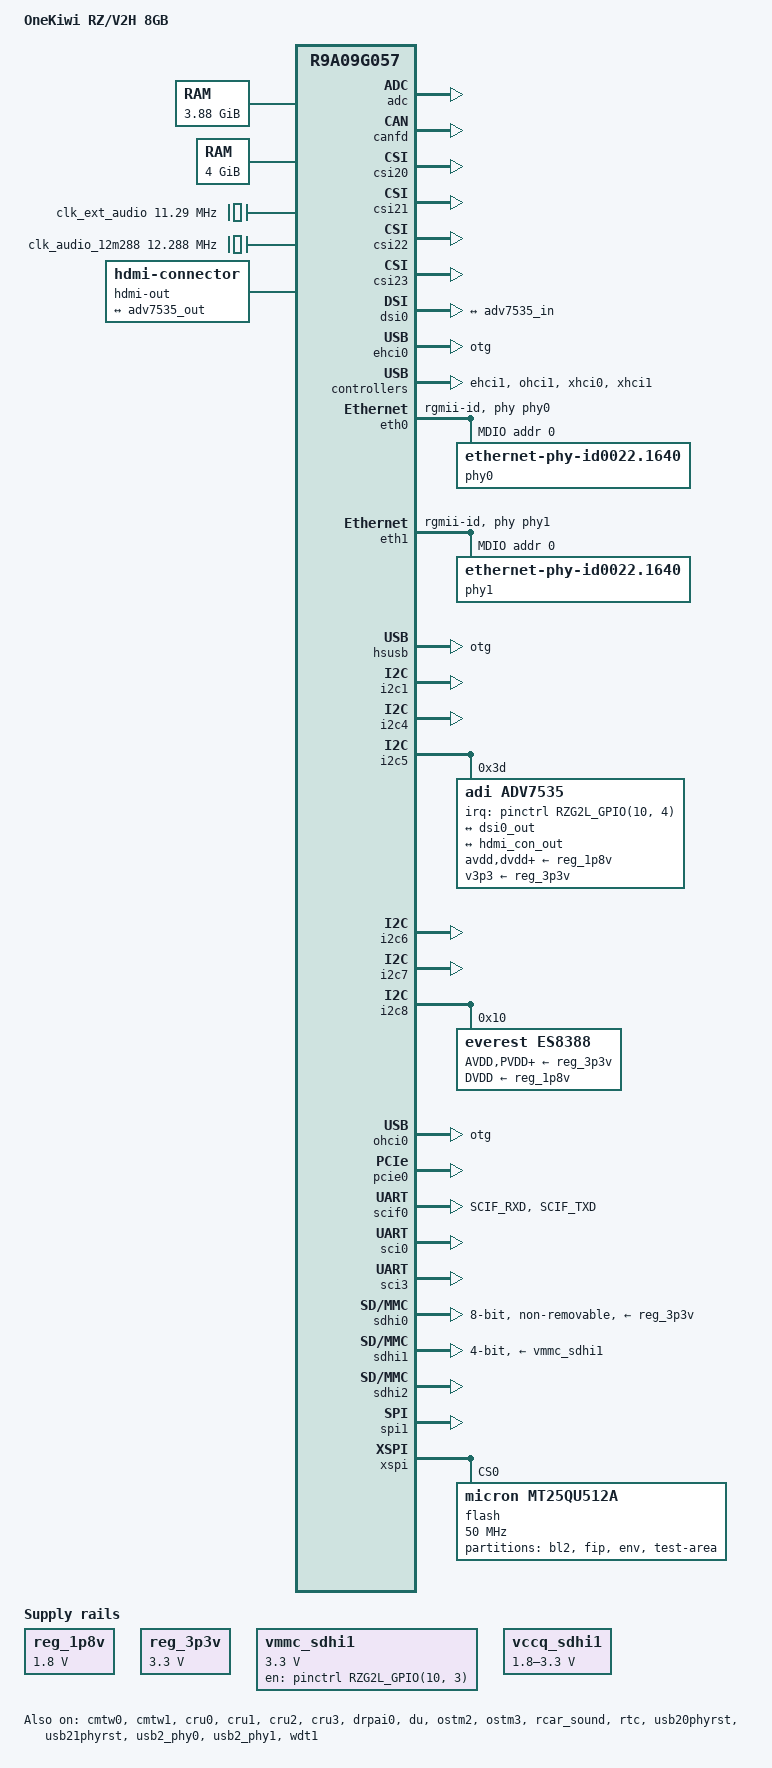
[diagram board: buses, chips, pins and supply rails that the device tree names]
// SPDX-License-Identifier: (GPL-2.0-only OR BSD-2-Clause)
/*
 * Device Tree Source for the OneKiw RZ/V2H SOM board
 *
 * Copyright (C) 2024 Renesas Electronics Corp.
 */

/dts-v1/;
#include "onekiwi-r9a09g057.dtsi"
#include <dt-bindings/pinctrl/rzg2l-pinctrl.h>
#include <dt-bindings/gpio/gpio.h>

#define CODEC_SGTLT5000		0

/ {
	model = "OneKiwi RZ/V2H 8GB";
	compatible = "onekiwi,onekiwi-rzv2h-8gb", "renesas,r9a09g057h4", "renesas,r9a09g057";

	aliases {
		serial0 = &scif0;
		serial1 = &sci0;
        serial2 = &sci3;
		i2c1 = &i2c1;
		i2c4 = &i2c4;
		i2c5 = &i2c5;
		i2c6 = &i2c6;
		i2c7 = &i2c7;
		i2c8 = &i2c8; 
		mmc0 = &sdhi0;
		mmc1 = &sdhi1;
		mmc2 = &sdhi2;
		ethernet0 = &eth0;
		ethernet1 = &eth1;
	};

	chosen {
		bootargs = "ignore_loglevel";
		stdout-path = "serial0:115200n8";
	};

	memory@48000000 {
		device_type = "memory";
		reg = <0x0 0x48000000 0x0 0xF8000000>;
	};

	memory@240000000 {
		device_type = "memory";
		reg = <0x2 0x40000000 0x1 0x00000000>;
	};

	reserved-memory {
		#address-cells = <2>;
		#size-cells = <2>;
		ranges;

		global_cma: linux,cma@58000000 {
			compatible = "shared-dma-pool";
			linux,cma-default;
			reusable;
			reg = <0x0 0x58000000 0x0 0x28000000>;
		};

		mmp_reserved: linux,multimedia {
			compatible = "shared-dma-pool";
			reusable;
			reg = <0x00000000 0x80000000 0x0 0x10000000>;
		};

		isp_reserved: frame_buffer@90000000 {
			compatible = "shared-dma-pool";
			reusable;
			reg = <0x0 0x90000000 0x0 0x18000000>;
		};

		opencva_reserved: OpenCVA@A8000000 {
			reusable;
			reg = <0x0 0xA8000000 0x0 0x7D00000>;
		};

		drp_codec: DRP-Codec@AFD00000 {
			reusable;
			reg = <0x0 0xAFD00000 0x0 0x300000>;
		};

		image_buf0: image_buf@B0000000 {
			compatible = "shared-dma-pool";
			reusable;
			reg = <0x0 0xB0000000 0x0 0x4000000>;
			label = "image_buf0";
		};

		cru_func: cru_buffer@B4000000 {
			compatible = "shared-dma-pool";
			reusable;
			reg = <0x0 0xB4000000 0x0 0x16400000>;
		};

		drp_reserved: DRP-AI@240000000 {
			reusable;
			// reg = <0x2 0x40000000 0x0 0x20000000>; // size = 512 MiB
			reg = <0x2 0x40000000 0x0 0x80000000>; // size = 2GiB
		};
	};

	mmngr {
		compatible = "renesas,mmngr";
		memory-region = <&mmp_reserved>;
	};

	mmngrbuf {
		compatible = "renesas,mmngrbuf";
	};

	vspm_if {
		compatible = "renesas,vspm_if";
	};

	reg_1p8v: regulator0 {
		compatible = "regulator-fixed";
		regulator-name = "fixed-1.8V";
		regulator-min-microvolt = <1800000>;
		regulator-max-microvolt = <1800000>;
		regulator-boot-on;
		regulator-always-on;
	};

	reg_3p3v: regulator1 {
		compatible = "regulator-fixed";
		regulator-name = "fixed-3.3V";
		regulator-min-microvolt = <3300000>;
		regulator-max-microvolt = <3300000>;
		regulator-boot-on;
		regulator-always-on;
	};

	vmmc_sdhi1: regulator-vcc-sdhi1 {
		compatible = "regulator-fixed";
		regulator-name = "SDHI1 Vmmc";
		regulator-min-microvolt = <3300000>;
		regulator-max-microvolt = <3300000>;
		gpios = <&pinctrl RZG2L_GPIO(10, 3) GPIO_ACTIVE_HIGH>;
		enable-active-high;
	};

	vccq_sdhi1: regulator-vccq-sdhi1 {
		compatible = "regulator-gpio";
		regulator-name = "SDHI1 VccQ";
		regulator-min-microvolt = <1800000>;
		regulator-max-microvolt = <3300000>;
		//gpios = <&pinctrl RZG2L_GPIO(10, 2) GPIO_ACTIVE_HIGH>;
		gpios-states = <1>;
		states = <3300000 0 1800000 1>;
	};

	x1_clk: x1-clock {
		compatible = "fixed-clock";
		#clock-cells = <0>;
		clock-frequency = <24000000>;
	};

	clk_ext_audio: clk_ext_audio {
		compatible = "fixed-clock";
		#clock-cells = <0>;
		clock-frequency = <11289600>;
	};


	clk_audio_12m288: x12m288 {
		compatible = "fixed-clock";
		#clock-cells = <0>;
		clock-frequency = <12288000>;
	};

	snd_rzv2h: sound {
		#address-cells = <1>;
		#size-cells = <0>;
		compatible = "simple-audio-card";
		simple-audio-card,name = "rsnd_rzv2h";
		status="okay";
#if CODEC_SGTLT5000
		simple-audio-card,widgets =
			"Headphone", "Headphone Jack",
			"Microphone", "Mic Jack",
			"Line", "Line In",
			"Line", "Line Out";
		simple-audio-card,routing =
			"Headphone Jack", "HP_OUT",
			"LINE_OUT", "Line Out",
			"Mic Jack", "MIC_IN",
			"Line In", "LINE_IN";
#else
		simple-audio-card,widgets =
			"Headphone", "Headphone Jack",
			"Microphone", "Mic Jack";
		simple-audio-card,routing =
			"Headphone Jack",	"LOUT1",
			"Headphone Jack",	"ROUT1",
			"LINPUT1", "Mic Jack",
			"RINPUT1", "Mic Jack";
#endif
		ssi_link: simple-audio-card,dai-link@0 {
			format = "i2s";
			reg = <0>;
			bitclock-master = <&cpu_dai0>;
			frame-master = <&cpu_dai0>;
			mclk-fs = <256>;

			cpu_dai0: cpu {
				sound-dai = <&rcar_sound 0>;
			};

			codec {
#if CODEC_SGTLT5000
				sound-dai = <&sgtl5000>;
				system-clock-frequency = <11289600>;
#else
				sound-dai = <&es8388>;
#endif
				clocks = <&rcar_sound>;
			};
		};
	};

	hdmi-out {
		compatible = "hdmi-connector";
		type = "d";

		port {
			hdmi_con_out: endpoint {
				remote-endpoint = <&adv7535_out>;
			};
		};
	};

	udmabuf@0 {
		compatible = "ikwzm,u-dma-buf";
		device-name = "udmabuf0";
		minor-number = <0>;
		size = <0x4000000>; // 64MiB
		dma-coherent;
		memory-region = <&image_buf0>;
	};
};

&adc {
	status = "okay";
};

&audio_clka {
	clock-frequency = <22579200>;
};

&audio_clkb {
	clock-frequency = <24576000>;
};

&audio_clkc {
	clock-frequency = <22579200>;
};

&canfd {
	pinctrl-0 = <&can2_pins &can3_pins>;
	pinctrl-names = "default";
	status = "okay";

	channel2 {
		status = "okay";
	};

	channel3 {
		status = "okay";
	};
};

&cmtw0 {
	status = "okay";
};

&cmtw1 {
	status = "okay";
};

&cru0 {
	status = "okay";
};

&cru1 {
	status = "okay";
};

&cru2 {
	status = "okay";
};

&cru3 {
	status = "okay";
};

&csi20 {
	status = "okay";
};

&csi21 {
	status = "okay";
};

&csi22 {
	status = "okay";
};

&csi23 {
	status = "okay";
};

&drpai0 {
	memory-region = <&drp_reserved>;
	image-memory-region = <&image_buf0>;
	status = "okay";
};

&dsi0 {
	status = "okay";
	ports {
		port@1 {
			dsi0_out: endpoint {
				remote-endpoint = <&adv7535_in>;
				data-lanes = <1 2 3 4>;
			};
		};
	};
};

&du {
	status = "okay";
};

&ehci0 {
	memory-region = <&global_cma>;
	dr_mode = "otg";
	status = "okay";
};

&ehci1 {
	memory-region = <&global_cma>;
	status = "okay";
};

&eth0 {
	phy-handle = <&phy0>;
	phy-mode = "rgmii-id";
	status = "okay";

	mdio {
		#address-cells = <1>;
		#size-cells = <0>;
		phy0: ethernet-phy@0 {
			compatible = "ethernet-phy-id0022.1640",
						 "ethernet-phy-ieee802.3-c22";
			reg = <0>;
			rxc-skew-psec = <1400>;
			txc-skew-psec = <1400>;
			rxdv-skew-psec = <0>;
			txdv-skew-psec = <0>;
			rxd0-skew-psec = <0>;
			rxd1-skew-psec = <0>;
			rxd2-skew-psec = <0>;
			rxd3-skew-psec = <0>;
			txd0-skew-psec = <0>;
			txd1-skew-psec = <0>;
			txd2-skew-psec = <0>;
			txd3-skew-psec = <0>;
		};
	};
};

&eth1 {
	phy-handle = <&phy1>;
	phy-mode = "rgmii-id";
	status = "okay";

	mdio {
		#address-cells = <1>;
		#size-cells = <0>;
		phy1: ethernet-phy@0 {
			compatible = "ethernet-phy-id0022.1640",
						 "ethernet-phy-ieee802.3-c22";
			reg = <0>;
			rxc-skew-psec = <1400>;
			txc-skew-psec = <1400>;
			rxdv-skew-psec = <0>;
			txdv-skew-psec = <0>;
			rxd0-skew-psec = <0>;
			rxd1-skew-psec = <0>;
			rxd2-skew-psec = <0>;
			rxd3-skew-psec = <0>;
			txd0-skew-psec = <0>;
			txd1-skew-psec = <0>;
			txd2-skew-psec = <0>;
			txd3-skew-psec = <0>;
		};
	};
};

&extal_clk {
	clock-frequency = <24000000>;
};

&hsusb {
	dr_mode = "otg";
	status = "okay";
};

&i2c1 {
	pinctrl-0 = <&i2c1_pins>;
	pinctrl-names = "default";
	status = "okay";
};

&i2c4 {
	pinctrl-0 = <&i2c4_pins>;
	pinctrl-names = "default";
	status = "okay";
};

&i2c5 {
	pinctrl-0 = <&i2c5_pins>;
	pinctrl-names = "default";
	status = "okay";

	adv7535: hdmi@3d {
		compatible = "adi,adv7535";
		reg = <0x3d>;

		avdd-supply = <&reg_1p8v>;
		dvdd-supply = <&reg_1p8v>;
		pvdd-supply = <&reg_1p8v>;
		a2vdd-supply = <&reg_1p8v>;
		v3p3-supply = <&reg_3p3v>;
		v1p2-supply = <&reg_1p8v>;

		interrupt-parent = <&pinctrl>;
		interrupts = <RZG2L_GPIO(10, 4) IRQ_TYPE_LEVEL_LOW>;

		adi,dsi-lanes = <4>;

		ports {
			#address-cells = <1>;
			#size-cells = <0>;

			port@0 {
				reg = <0>;
				adv7535_in: endpoint@0 {
					remote-endpoint = <&dsi0_out>;
				};
			};

			port@1 {
				reg = <1>;
				adv7535_out: endpoint@1 {
				remote-endpoint = <&hdmi_con_out>;
				};
			};
		};
	};
};

&i2c6 {
	pinctrl-0 = <&i2c6_pins>;
	pinctrl-names = "default";
	status = "okay";
};

&i2c7 {
	pinctrl-0 = <&i2c7_pins>;
	pinctrl-names = "default";
	status = "okay";
};

&i2c8 {
	pinctrl-0 = <&i2c8_pins>;
	pinctrl-names = "default";
	status = "okay";

#if CODEC_SGTLT5000
	sgtl5000: audio-codec@a {
		compatible = "fsl,sgtl5000";
		#sound-dai-cells = <0>;
		#address-cells = <1>;
		#size-cells = <0>;
		reg = <0xa>;

		//clocks = <&rcar_sound>;
		clocks = <&clk_ext_audio>;
		clock-names = "mclk";

		VDDA-supply = <&reg_3p3v>;
		VDDIO-supply = <&reg_1p8v>;
		VDDD-supply = <&reg_1p8v>;
	};
#else
	es8388: audio-codec@10 {
        compatible = "everest,es8388";
		#sound-dai-cells = <0>;
		#address-cells = <1>;
		#size-cells = <0>;
        reg = <0x10>;

        AVDD-supply  = <&reg_3p3v>;
        DVDD-supply  = <&reg_1p8v>;
        PVDD-supply  = <&reg_3p3v>;
        IPVDD-supply = <&reg_3p3v>;

        clocks = <&clk_ext_audio>;
        clock-names = "mclk";

        status = "okay";
    };
#endif
};

&ohci0 {
	memory-region = <&global_cma>;
	dr_mode = "otg";
	status = "okay";
};

&ohci1 {
	memory-region = <&global_cma>;
	status = "okay";
};

&ostm2 {
	status = "okay";
};

&ostm3 {
	status = "okay";
};

&pcie0 {
	// Map all possible DDR as inbound ranges
	dma-ranges = <0x42000000 0 0x40000000 0 0x40000000 0x2 0x00000000>;
	status = "okay";
};

&rcar_sound {
	pinctrl-0 = <&sound_clk_pins &sound_pins>;
	pinctrl-names = "default";
	status = "okay";

	/* audio_clkout */
	#clock-cells = <0>;
	clock-frequency = <11289600>;

	/* Multi DAI */
	#sound-dai-cells = <1>;

	rcar_sound,dai {
		dai0 {
			playback = <&ssi1>;
			capture  = <&ssi2 &src0 &dvc0>;
		};
	};
};

&rtc {
	status = "okay";
};

/* console */
&scif0 {
	pinctrl-0 = <&scif0_pins>;
	pinctrl-names = "default";
	status = "okay";
};

&sci0 {
	pinctrl-0 = <&uart0_pins>;
	pinctrl-names = "default";

	uart-has-rtscts;
	status = "okay";
};

&sci3 {
	pinctrl-0 = <&uart3_pins>;
	pinctrl-names = "default";

	uart-has-rtscts;
	status = "okay";
};

&sci5 {
	status = "disabled";
};

&sci7 {
	status = "disabled";
};

/* eMMC */
&sdhi0 {
	vmmc-supply = <&reg_3p3v>;
	vqmmc-supply = <&reg_1p8v>;
	bus-width = <8>;
	mmc-hs200-1_8v;
	non-removable;
	fixed-emmc-driver-type = <1>;
	status = "okay";
};

/* microSD */
&sdhi1 {
	pinctrl-0 = <&sdhi1_pins>;
	pinctrl-names = "default";
	vmmc-supply = <&vmmc_sdhi1>;
	vqmmc-supply = <&vccq_sdhi1>;
	//vqmmc-supply = <&reg_1p8v>;
	bus-width = <4>;
	sd-uhs-sdr50;
	sd-uhs-sdr104;
	status = "okay";
};

&sdhi2 {
	pinctrl-0 = <&sdhi2_pins>;
	pinctrl-names = "default";
	status = "okay";
};

&spi1 {
	pinctrl-0 = <&spi1_pins>;
	pinctrl-names = "default";
	status = "okay";
};

&ssi2 {
	shared-pin;
};

&usb20phyrst {
	status = "okay";
};

&usb21phyrst {
	status = "okay";
};

&usb2_phy0 {
	pinctrl-0 = <&usb20_pins>;
	pinctrl-names = "default";
	status = "okay";
};

&usb2_phy1 {
	pinctrl-0 = <&usb21_pins>;
	pinctrl-names = "default";
	status = "okay";
};

&wdt1 {
	status = "okay";
};

&xhci0 {
	pinctrl-0 = <&usb30_pins>;
	pinctrl-names = "default";
	memory-region = <&global_cma>;
	status = "okay";
};

&xhci1 {
	pinctrl-0 = <&usb31_pins>;
	pinctrl-names = "default";
	memory-region = <&global_cma>;
	status = "okay";
};

&xspi {
	status = "okay";

	flash@0 {
		compatible = "micron,mt25qu512a", "jedec,spi-nor";
		reg = <0>;
		m25p,fast-read;
		spi-max-frequency = <50000000>;
		spi-tx-bus-width = <1>;
		spi-rx-bus-width = <1>;

		partitions {
			compatible = "fixed-partitions";
			#address-cells = <1>;
			#size-cells = <1>;

			partition@000000 {
				label = "bl2";
				reg = <0x00000000 0x0001D200>;
				read-only;
			};

			partition@01D200 {
				label = "fip";
				reg = <0x0001D200 0x001C2E00>;
				read-only;
			};

			partition@1E0000 {
				label = "env";
				reg = <0x001E0000 0x00020000>;
				read-only;
			};

			partition@200000 {
				label = "test-area";
				reg = <0x00200000 0x00E00000>;
			};
		};
	};
};

&pinctrl {
	can2_pins: can2 {
		pinmux = <RZG2L_PORT_PINMUX(8,5,5)>, /* CAN2_RX */
				 <RZG2L_PORT_PINMUX(8,4,5)>; /* CAN2_TX */
	};

	can3_pins: can3 {
		pinmux = <RZG2L_PORT_PINMUX(8,7,5)>, /* CAN3_RX */
				 <RZG2L_PORT_PINMUX(8,6,5)>; /* CAN3_TX */
	};

	i2c1_pins: i2c1 {
		pinmux = <RZG2L_PORT_PINMUX(3, 2, 1)>, /* I2C1_SDA */
				 <RZG2L_PORT_PINMUX(3, 3, 1)>; /* I2C1_SCL */
	};

	i2c4_pins: i2c4 {
		pinmux = <RZG2L_PORT_PINMUX(7,1,1)>, /* I2C4_SCL */
				 <RZG2L_PORT_PINMUX(7,0,1)>; /* I2C4_SDA */
	};

	i2c5_pins: i2c5 {
		pinmux = <RZG2L_PORT_PINMUX(7,3,1)>, /* I2C5_SCL */
				 <RZG2L_PORT_PINMUX(7,2,1)>; /* I2C5_SDA */
	};

	i2c6_pins: i2c6 {
		pinmux = <RZG2L_PORT_PINMUX(7,5,1)>, /* I2C6_SCL */
				 <RZG2L_PORT_PINMUX(7,4,1)>; /* I2C6_SDA */
	};

	i2c7_pins: i2c7 {
		pinmux = <RZG2L_PORT_PINMUX(7,7,1)>, /* I2C7_SCL */
				 <RZG2L_PORT_PINMUX(7,6,1)>; /* I2C7_SDA */
	};

	i2c8_pins: i2c8 {
		pinmux = <RZG2L_PORT_PINMUX(0, 6, 1)>, /* I2C8_SDA */
				 <RZG2L_PORT_PINMUX(0, 7, 1)>; /* I2C8_SCL */
	};

	i2c9_pins: i2c9 {
		pinmux = <RZG2L_PORT_PINMUX(8,3,6)>, /* I2C9_SCL */
				 <RZG2L_PORT_PINMUX(8,2,6)>; /* I2C9_SDA */
	};

	scif0_pins: scif0 {
		pins =  "SCIF_RXD", "SCIF_TXD";
	};

	sdhi1_pins: sd1 {
		sd1_mux {
			pinmux = <RZG2L_PORT_PINMUX(9, 4, 14)>; /* SD1_CD */
		};
	};

	sdhi2_pins: sd2 {
		pinmux = <RZG2L_PORT_PINMUX(11, 0, 1)>, /* SD2_CLK */
				 <RZG2L_PORT_PINMUX(11, 5, 1)>, /* SD2_CMD */
				 <RZG2L_PORT_PINMUX(11, 1, 1)>, /* SD2_DATA0 */
				 <RZG2L_PORT_PINMUX(11, 2, 1)>, /* SD2_DATA1 */
				 <RZG2L_PORT_PINMUX(11, 3, 1)>, /* SD2_DATA2 */
				 <RZG2L_PORT_PINMUX(11, 4, 1)>; /* SD2_DATA3 */
	};

	sound_clk_pins: sound_clk {
		pinmux = <RZG2L_PORT_PINMUX(1, 0, 7)>, /* AUDIO_CLKB */
				 <RZG2L_PORT_PINMUX(1, 1, 7)>, /* AUDIO_CLKC */
				 <RZG2L_PORT_PINMUX(9, 7, 8)>; /* AUDIO_CLKOUT */
	};

	sound_pins: sound {
		pinmux = <RZG2L_PORT_PINMUX(4,4,7)>, /* SSI1_SCK */
				 <RZG2L_PORT_PINMUX(4,5,7)>, /* SSI1_WS */
				 <RZG2L_PORT_PINMUX(4,6,7)>, /* SSI1_SDATA */
				 <RZG2L_PORT_PINMUX(4,7,7)>; /* SSI2_SDATA */
	};

	spi1_pins: spi1 {
		pinmux = <RZG2L_PORT_PINMUX(9,1,1)>, /* MISOA */
				 <RZG2L_PORT_PINMUX(9,0,1)>, /* MOSIA */
				 <RZG2L_PORT_PINMUX(9,2,1)>, /* RSPCKA */
				 <RZG2L_PORT_PINMUX(9,3,1)>; /* SSLA0 */
	};

	uart0_pins: uart0 {
		pinmux = <RZG2L_PORT_PINMUX(5,2,4)>, /* UART0_CTS */
				 <RZG2L_PORT_PINMUX(5,1,1)>, /* UART0_RXD */
				 <RZG2L_PORT_PINMUX(5,3,2)>, /* UART0_RTS */
				 <RZG2L_PORT_PINMUX(5,0,1)>; /* UART0_TXD */
	};

	uart3_pins: uart3 {
		pinmux = <RZG2L_PORT_PINMUX(3,6,4)>, /* CTS3N */
				 <RZG2L_PORT_PINMUX(3,5,2)>, /* RXD3_MISO3_SCL3 */
				 <RZG2L_PORT_PINMUX(3,7,2)>, /* SS3_CTS3N_RTS3N */
				 <RZG2L_PORT_PINMUX(3,4,2)>; /* TXD3_MOSI3_SDA3 */
	};

	usb20_pins: usb20 {
		pinmux = <RZG2L_PORT_PINMUX(6,1,15)>, /* USB20_OVRCURN */
				 <RZG2L_PORT_PINMUX(6,0,15)>; /* USB20_VBUSEN */
	};

	usb21_pins: usb21 {
		pinmux = <RZG2L_PORT_PINMUX(6,3,15)>, /* USB21_OVRCURN */
				 <RZG2L_PORT_PINMUX(6,2,15)>; /* USB21_VBUSEN */
	};

	usb30_pins: usb30 {
		pinmux = <RZG2L_PORT_PINMUX(6,5,15)>, /* USB30_OVRCURN */
				 <RZG2L_PORT_PINMUX(6,4,15)>; /* USB30_VBUSEN */
	};

	usb31_pins: usb31 {
		pinmux = <RZG2L_PORT_PINMUX(6,7,15)>, /* USB31_OVRCURN */
				 <RZG2L_PORT_PINMUX(6,6,15)>; /* USB31_VBUSEN */
	};
};
